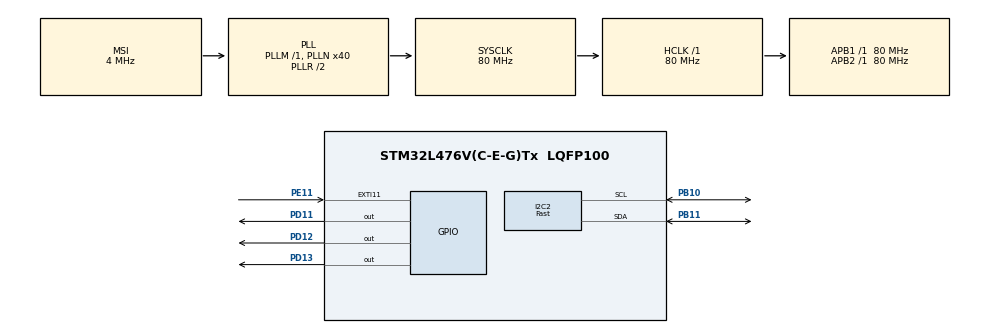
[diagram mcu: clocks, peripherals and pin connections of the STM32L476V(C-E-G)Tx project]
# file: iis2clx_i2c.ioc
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Dma.I2C2_RX.0.Direction=DMA_PERIPH_TO_MEMORY
Dma.I2C2_RX.0.Instance=DMA1_Channel5
Dma.I2C2_RX.0.MemDataAlignment=DMA_MDATAALIGN_BYTE
Dma.I2C2_RX.0.MemInc=DMA_MINC_ENABLE
Dma.I2C2_RX.0.Mode=DMA_CIRCULAR
Dma.I2C2_RX.0.PeriphDataAlignment=DMA_PDATAALIGN_BYTE
Dma.I2C2_RX.0.PeriphInc=DMA_PINC_DISABLE
Dma.I2C2_RX.0.Priority=DMA_PRIORITY_VERY_HIGH
Dma.Request0=I2C2_RX
I2C2.Analog_Filter=I2C_ANALOGFILTER_DISABLE
I2C2.CustomTiming=Disabled
I2C2.I2C_Speed_Mode=I2C_Fast
I2C2.Timing=0x00702D95
Mcu.Family=STM32L4
Mcu.Name=STM32L476V(C-E-G)Tx
Mcu.Package=LQFP100
NVIC.DMA1_Channel5_IRQn=true\:0\:0\:false\:false\:true\:false\:true
NVIC.EXTI15_10_IRQn=true\:0\:0\:false\:false\:true\:true\:true
NVIC.I2C2_ER_IRQn=true\:0\:0\:false\:false\:true\:true\:true
NVIC.I2C2_EV_IRQn=true\:0\:0\:false\:false\:true\:true\:true
NVIC.PriorityGroup=NVIC_PRIORITYGROUP_4
PA13\ (JTMS-SWDIO).Mode=Serial_Wire
PA13\ (JTMS-SWDIO).Signal=SYS_JTMS-SWDIO
PA14\ (JTCK-SWCLK).Mode=Serial_Wire
PA14\ (JTCK-SWCLK).Signal=SYS_JTCK-SWCLK
PB10.Mode=I2C
PB10.Signal=I2C2_SCL
PB11.Mode=I2C
PB11.Signal=I2C2_SDA
PD11.Signal=GPIO_Output
PD12.Signal=GPIO_Output
PD13.Signal=GPIO_Output
PE11.Signal=GPXTI11
ProjectManager.HeapSize=0x400
ProjectManager.StackSize=0x800
ProjectManager.TargetToolchain=STM32CubeIDE
RCC.AHBFreq_Value=80000000
RCC.APB1Freq_Value=80000000
RCC.APB1TimFreq_Value=80000000
RCC.APB2Freq_Value=80000000
RCC.APB2TimFreq_Value=80000000
RCC.CortexFreq_Value=80000000
RCC.HCLKFreq_Value=80000000
RCC.HSE_VALUE=8000000
RCC.HSI_VALUE=16000000
RCC.LSE_VALUE=32768
RCC.MSI_VALUE=4000000
RCC.PLLN=40
RCC.SYSCLKFreq_VALUE=80000000
RCC.SYSCLKSource=RCC_SYSCLKSOURCE_PLLCLK
RCC.VCOOutputFreq_Value=160000000
board=custom

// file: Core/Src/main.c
/* USER CODE BEGIN Header */
/**
  ******************************************************************************
  * @file           : main.c
  * @brief          : Main program body
  ******************************************************************************
  * @attention
  *
  * <h2><center>&copy; Copyright (c) 2021 STMicroelectronics.
  * All rights reserved.</center></h2>
  *
  * This software component is licensed by ST under BSD 3-Clause license,
  * the "License"; You may not use this file except in compliance with the
  * License. You may obtain a copy of the License at:
  *                        opensource.org/licenses/BSD-3-Clause
  *
  ******************************************************************************
  */
/* USER CODE END Header */

#include "main.h"
#include "dma.h"
#include "i2c.h"
#include "gpio.h"

/* USER CODE BEGIN Includes */
#include <stdarg.h>
#include <stdio.h>

#include "ii2clx.h"
/* USER CODE END Includes */

/* USER CODE BEGIN PV */

int16_t acc_x_temp = 0U;
int16_t acc_y_temp = 0U;
float    acc_x_mg   = 0.0f;
float    acc_y_mg   = 0.0f;
uint8_t i2cBuf[5];

/* USER CODE END PV */

void SystemClock_Config(void);

/* USER CODE BEGIN PFP */
char buffer[10];
int vspfunc(char *format, ...) {
   va_list aptr;
   int ret;

   va_start(aptr, format);
   ret = vsprintf(buffer, format, aptr);
   va_end(aptr);

   return(ret);
}
void data_conv(int16_t in1, int16_t in2);
int16_t twoComplement(int16_t in1);
/* USER CODE END PFP */

int main(void)
{

  /* MCU Configuration--------------------------------------------------------*/

  /* Reset of all peripherals, Initializes the Flash interface and the Systick. */
  HAL_Init();

  /* Configure the system clock */
  SystemClock_Config();

  /* Initialize all configured peripherals */
  MX_GPIO_Init();
  MX_DMA_Init();
  MX_I2C2_Init();
  /* USER CODE BEGIN 2 */
for (int i =0; i<255; i++)
{
	if (HAL_I2C_IsDeviceReady(&hi2c2, i, 1, 10) == HAL_OK)
	{
		HAL_GPIO_TogglePin(GPIOD, GPIO_PIN_13);
		break;
	}
}

float f = 0.001;
vspfunc("%1.4f", f);

/**
 * Initializing the sensor
 *  Writing the correct value into CTRL1_XL
 **/
i2cBuf[0] = IIS2CLX_CTRL1_LX_ADDR;
i2cBuf[1] = (II2CLX_ODR_104Hz & 0xF0) | (IIS2CLX_FS_2_G & 0x0C);

HAL_I2C_Master_Transmit(&hi2c2, IIS2CLX_DEV_ADDR, i2cBuf, 2, 10);

i2cBuf[0] = IIS2CLX_X_AXIS_L_ADDR;
HAL_I2C_Master_Transmit(&hi2c2, IIS2CLX_DEV_ADDR, i2cBuf, 1, 10);
HAL_I2C_Master_Receive_DMA(&hi2c2, IIS2CLX_DEV_ADDR, &i2cBuf[1], 4);

  /* USER CODE END 2 */

  /* Infinite loop */
  while (1)
  {

    /* USER CODE BEGIN 3 */
    /* Constantly Read Acc Values */
    //i2cBuf[0] = IIS2CLX_X_AXIS_L_ADDR;
    //HAL_I2C_Master_Transmit(&hi2c2, IIS2CLX_DEV_ADDR, i2cBuf, 1, HAL_MAX_DELAY);
    //HAL_I2C_Master_Receive_DMA(&hi2c2, IIS2CLX_DEV_ADDR, &i2cBuf[1], 4);

    /** combining the bytes of each axis **/
    /**
    acc_x_temp = ((int16_t) i2cBuf[1]<<8 | i2cBuf[2]);
    acc_y_temp = ((int16_t ) i2cBuf[3]<<8 | i2cBuf[4]);   **/
    /** Converting to 2's negative **/

    /**
    acc_x_temp = twoComplement(acc_x_temp);
    acc_y_temp = twoComplement(acc_y_temp);

    acc_x_mg = (((float)acc_x_temp)/16393);
    acc_y_mg = (((float)acc_y_temp)/16393);
     	 **/
  }
  /* USER CODE END 3 */
}

void SystemClock_Config(void)
{
  RCC_OscInitTypeDef RCC_OscInitStruct = {0};
  RCC_ClkInitTypeDef RCC_ClkInitStruct = {0};
  RCC_PeriphCLKInitTypeDef PeriphClkInit = {0};

  /** Initializes the CPU, AHB and APB busses clocks
  */
  RCC_OscInitStruct.OscillatorType = RCC_OSCILLATORTYPE_MSI;
  RCC_OscInitStruct.MSIState = RCC_MSI_ON;
  RCC_OscInitStruct.MSICalibrationValue = 0;
  RCC_OscInitStruct.MSIClockRange = RCC_MSIRANGE_6;
  RCC_OscInitStruct.PLL.PLLState = RCC_PLL_ON;
  RCC_OscInitStruct.PLL.PLLSource = RCC_PLLSOURCE_MSI;
  RCC_OscInitStruct.PLL.PLLM = 1;
  RCC_OscInitStruct.PLL.PLLN = 40;
  RCC_OscInitStruct.PLL.PLLP = RCC_PLLP_DIV7;
  RCC_OscInitStruct.PLL.PLLQ = RCC_PLLQ_DIV2;
  RCC_OscInitStruct.PLL.PLLR = RCC_PLLR_DIV2;
  if (HAL_RCC_OscConfig(&RCC_OscInitStruct) != HAL_OK)
  {
    Error_Handler();
  }
  /** Initializes the CPU, AHB and APB busses clocks
  */
  RCC_ClkInitStruct.ClockType = RCC_CLOCKTYPE_HCLK|RCC_CLOCKTYPE_SYSCLK
                              |RCC_CLOCKTYPE_PCLK1|RCC_CLOCKTYPE_PCLK2;
  RCC_ClkInitStruct.SYSCLKSource = RCC_SYSCLKSOURCE_PLLCLK;
  RCC_ClkInitStruct.AHBCLKDivider = RCC_SYSCLK_DIV1;
  RCC_ClkInitStruct.APB1CLKDivider = RCC_HCLK_DIV1;
  RCC_ClkInitStruct.APB2CLKDivider = RCC_HCLK_DIV1;

  if (HAL_RCC_ClockConfig(&RCC_ClkInitStruct, FLASH_LATENCY_4) != HAL_OK)
  {
    Error_Handler();
  }
  PeriphClkInit.PeriphClockSelection = RCC_PERIPHCLK_I2C2;
  PeriphClkInit.I2c2ClockSelection = RCC_I2C2CLKSOURCE_PCLK1;
  if (HAL_RCCEx_PeriphCLKConfig(&PeriphClkInit) != HAL_OK)
  {
    Error_Handler();
  }
  /** Configure the main internal regulator output voltage
  */
  if (HAL_PWREx_ControlVoltageScaling(PWR_REGULATOR_VOLTAGE_SCALE1) != HAL_OK)
  {
    Error_Handler();
  }
}

/* USER CODE BEGIN 4 */
int16_t twoComplement(int16_t in1)
{
  if (in1 > 0x7ff)
  {
    return in1 |= 0xF000;
  }
  else return in1;
}

void HAL_I2C_MasterRxCpltCallback(I2C_HandleTypeDef *hi2c)
{
  /* Prevent unused argument(s) compilation warning */

  /* NOTE : This function should not be modified, when the callback is needed,
            the HAL_I2C_SlaveRxCpltCallback can be implemented in the user file
   */
  if (hi2c->Instance == I2C2)
  {
	  	HAL_GPIO_TogglePin(GPIOB, GPIO_PIN_8);
	    acc_x_temp = ((int16_t) i2cBuf[1]<<8 | i2cBuf[2]);
	    acc_y_temp = ((int16_t ) i2cBuf[3]<<8 | i2cBuf[4]);
	    data_conv(acc_x_temp, acc_y_temp);
	    i2cBuf[0] = IIS2CLX_X_AXIS_L_ADDR;
	    HAL_I2C_Master_Transmit(&hi2c2, IIS2CLX_DEV_ADDR, i2cBuf, 1, HAL_MAX_DELAY);
    	HAL_I2C_Master_Receive_DMA(&hi2c2, IIS2CLX_DEV_ADDR, &i2cBuf[1], 4);

  }
}

void data_conv(int16_t in1, int16_t in2)
{

    acc_x_temp = twoComplement(in1);
    acc_y_temp = twoComplement(in2);

    acc_x_mg = (((float)acc_x_temp)/16393);
    acc_y_mg = (((float)acc_y_temp)/16393);

}
/* USER CODE END 4 */

void Error_Handler(void)
{
}

/************************ (C) COPYRIGHT STMicroelectronics *****END OF FILE****/
